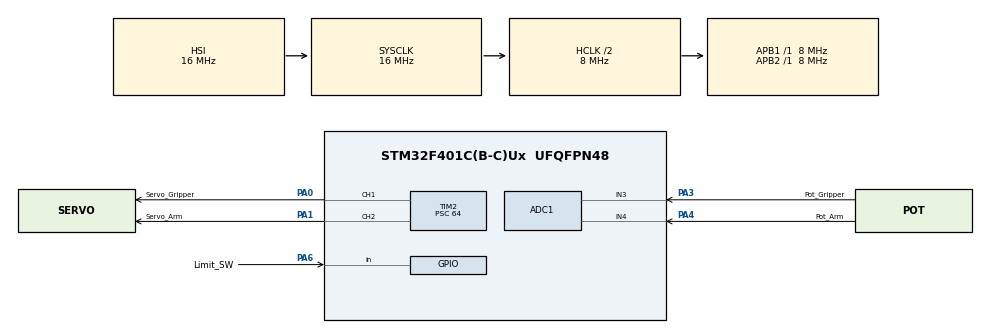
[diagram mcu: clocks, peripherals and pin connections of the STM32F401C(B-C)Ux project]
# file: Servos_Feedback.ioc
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ADC1.Channel-1\#ChannelRegularConversion=ADC_CHANNEL_3
ADC1.Channel-2\#ChannelRegularConversion=ADC_CHANNEL_4
ADC1.ContinuousConvMode=ENABLE
ADC1.DMAContinuousRequests=ENABLE
ADC1.EOCSelection=ADC_EOC_SINGLE_CONV
ADC1.EnableAnalogWatchDog=false
ADC1.NbrOfConversion=2
ADC1.NbrOfConversionFlag=1
ADC1.Rank-1\#ChannelRegularConversion=1
ADC1.Rank-2\#ChannelRegularConversion=2
ADC1.SamplingTime-1\#ChannelRegularConversion=ADC_SAMPLETIME_3CYCLES
ADC1.SamplingTime-2\#ChannelRegularConversion=ADC_SAMPLETIME_3CYCLES
ADC1.master=1
Dma.ADC1.0.Direction=DMA_PERIPH_TO_MEMORY
Dma.ADC1.0.FIFOMode=DMA_FIFOMODE_ENABLE
Dma.ADC1.0.FIFOThreshold=DMA_FIFO_THRESHOLD_FULL
Dma.ADC1.0.Instance=DMA2_Stream0
Dma.ADC1.0.MemBurst=DMA_MBURST_SINGLE
Dma.ADC1.0.MemDataAlignment=DMA_MDATAALIGN_HALFWORD
Dma.ADC1.0.MemInc=DMA_MINC_ENABLE
Dma.ADC1.0.Mode=DMA_NORMAL
Dma.ADC1.0.PeriphBurst=DMA_PBURST_SINGLE
Dma.ADC1.0.PeriphDataAlignment=DMA_PDATAALIGN_HALFWORD
Dma.ADC1.0.PeriphInc=DMA_PINC_DISABLE
Dma.ADC1.0.Priority=DMA_PRIORITY_LOW
Dma.Request0=ADC1
Mcu.Family=STM32F4
Mcu.Name=STM32F401C(B-C)Ux
Mcu.Package=UFQFPN48
NVIC.DMA2_Stream0_IRQn=true\:0\:0\:false\:false\:true\:false\:true\:true
NVIC.PriorityGroup=NVIC_PRIORITYGROUP_4
NVIC.TIM5_IRQn=true\:15\:0\:false\:false\:true\:false\:true\:true
NVIC.TimeBase=TIM5_IRQn
NVIC.TimeBaseIP=TIM5
PA0-WKUP.GPIO_Label=Servo_Gripper
PA0-WKUP.Signal=S_TIM2_CH1_ETR
PA1.GPIO_Label=Servo_Arm
PA1.Signal=S_TIM2_CH2
PA3.GPIO_Label=Pot_Gripper
PA3.Signal=ADCx_IN3
PA4.GPIO_Label=Pot_Arm
PA4.Signal=ADCx_IN4
PA6.GPIO_Label=Limit_SW
PA6.Signal=GPIO_Input
ProjectManager.HeapSize=0x200
ProjectManager.StackSize=0x400
ProjectManager.TargetToolchain=STM32CubeIDE
RCC.AHBCLKDivider=RCC_SYSCLK_DIV2
RCC.AHBFreq_Value=8000000
RCC.APB1Freq_Value=8000000
RCC.APB1TimFreq_Value=8000000
RCC.APB2Freq_Value=8000000
RCC.APB2TimFreq_Value=8000000
RCC.CortexFreq_Value=8000000
RCC.HCLKFreq_Value=8000000
RCC.HSE_VALUE=25000000
RCC.HSI_VALUE=16000000
RCC.LSE_VALUE=32768
RCC.SYSCLKFreq_VALUE=16000000
RCC.VCOOutputFreq_Value=192000000
SH.ADCx_IN3.0=ADC1_IN3,IN3
SH.ADCx_IN4.0=ADC1_IN4,IN4
SH.S_TIM2_CH1_ETR.0=TIM2_CH1,PWM Generation1 CH1
SH.S_TIM2_CH2.0=TIM2_CH2,PWM Generation2 CH2
TIM2.Channel-PWM\ Generation1\ CH1=TIM_CHANNEL_1
TIM2.Channel-PWM\ Generation2\ CH2=TIM_CHANNEL_2
TIM2.Period=2499
TIM2.Prescaler=64
VP_SYS_VS_tim5.Mode=TIM5
VP_TIM2_VS_ClockSourceINT.Mode=Internal
board=custom

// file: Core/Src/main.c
/* USER CODE BEGIN Header */
/**
  ******************************************************************************
  * @file           : main.c
  * @brief          : Main program body
  ******************************************************************************
  * @attention
  *
  * Copyright (c) 2023 STMicroelectronics.
  * All rights reserved.
  *
  * This software is licensed under terms that can be found in the LICENSE file
  * in the root directory of this software component.
  * If no LICENSE file comes with this software, it is provided AS-IS.
  *
  ******************************************************************************
  */
/* USER CODE END Header */
#include "main.h"

ADC_HandleTypeDef hadc1;
DMA_HandleTypeDef hdma_adc1;

TIM_HandleTypeDef htim2;

/* USER CODE BEGIN PV */
int adc1, adc2, button=0;
volatile uint16_t adc_result[2];
const int adc_channel_count = sizeof(adc_result) / sizeof(adc_result[0]);
volatile int adc_conversion_complete = 0, adc_half_conversion_complete = 0;
/* USER CODE END PV */

void SystemClock_Config(void);
static void MX_GPIO_Init(void);
static void MX_DMA_Init(void);
static void MX_ADC1_Init(void);
static void MX_TIM2_Init(void);

int main(void)
{

  /* MCU Configuration--------------------------------------------------------*/

  /* Reset of all peripherals, Initializes the Flash interface and the Systick. */
  HAL_Init();

  /* Configure the system clock */
  SystemClock_Config();

  /* Initialize all configured peripherals */
  MX_GPIO_Init();
  MX_DMA_Init();
  MX_ADC1_Init();
  MX_TIM2_Init();
  /* USER CODE BEGIN 2 */
  HAL_TIM_PWM_Start(&htim2, TIM_CHANNEL_1);
  HAL_TIM_PWM_Start(&htim2, TIM_CHANNEL_2);
  TIM2->CCR1 = 65;
  TIM2->CCR2 = 65;
  HAL_Delay(100);
  int paso = 0;
  /* USER CODE END 2 */

  /* Infinite loop */
  /* USER CODE BEGIN WHILE */
  while (1)
  {

	  HAL_ADC_Start_DMA(&hadc1, (uint32_t*)adc_result, adc_channel_count);
	  button = HAL_GPIO_ReadPin(Limit_SW_GPIO_Port, Limit_SW_Pin);
	  if (paso == 0){
		  if (adc1 < 2125 && button != 1){
			  TIM2->CCR1 += 2;
		  }
		  else{
			  HAL_Delay(500);
			  paso = 1;
		  }
	  }
	  else if (paso == 1){
		  if (adc2 < 2040){
				  TIM2->CCR2 += 2;
			  }
		  else{
			  HAL_Delay(2000);
			  paso = 2;
		  }
	  }
	  else if (paso == 2){
		  if (adc2 > 400){
			  TIM2->CCR2 -= 2;
		  }
		  else{
			  HAL_Delay(500);
			  paso = 3;
		  }
	  }
	  else if (paso == 3){
		  if (adc1 > 510){
			  TIM2->CCR1 -= 2;
		  }
		  else{
			  HAL_Delay(5000);
			  paso = 0;
		  }
	  }
	  HAL_Delay(50);
    /* USER CODE END WHILE */

  }
}

void SystemClock_Config(void)
{
  RCC_OscInitTypeDef RCC_OscInitStruct = {0};
  RCC_ClkInitTypeDef RCC_ClkInitStruct = {0};

  /** Configure the main internal regulator output voltage
  */
  __HAL_RCC_PWR_CLK_ENABLE();
  __HAL_PWR_VOLTAGESCALING_CONFIG(PWR_REGULATOR_VOLTAGE_SCALE2);

  /** Initializes the RCC Oscillators according to the specified parameters
  * in the RCC_OscInitTypeDef structure.
  */
  RCC_OscInitStruct.OscillatorType = RCC_OSCILLATORTYPE_HSI;
  RCC_OscInitStruct.HSIState = RCC_HSI_ON;
  RCC_OscInitStruct.HSICalibrationValue = RCC_HSICALIBRATION_DEFAULT;
  RCC_OscInitStruct.PLL.PLLState = RCC_PLL_NONE;
  if (HAL_RCC_OscConfig(&RCC_OscInitStruct) != HAL_OK)
  {
    Error_Handler();
  }

  /** Initializes the CPU, AHB and APB buses clocks
  */
  RCC_ClkInitStruct.ClockType = RCC_CLOCKTYPE_HCLK|RCC_CLOCKTYPE_SYSCLK
                              |RCC_CLOCKTYPE_PCLK1|RCC_CLOCKTYPE_PCLK2;
  RCC_ClkInitStruct.SYSCLKSource = RCC_SYSCLKSOURCE_HSI;
  RCC_ClkInitStruct.AHBCLKDivider = RCC_SYSCLK_DIV2;
  RCC_ClkInitStruct.APB1CLKDivider = RCC_HCLK_DIV1;
  RCC_ClkInitStruct.APB2CLKDivider = RCC_HCLK_DIV1;

  if (HAL_RCC_ClockConfig(&RCC_ClkInitStruct, FLASH_LATENCY_0) != HAL_OK)
  {
    Error_Handler();
  }
}

static void MX_ADC1_Init(void)
{

  ADC_ChannelConfTypeDef sConfig = {0};

  /** Configure the global features of the ADC (Clock, Resolution, Data Alignment and number of conversion)
  */
  hadc1.Instance = ADC1;
  hadc1.Init.ClockPrescaler = ADC_CLOCK_SYNC_PCLK_DIV2;
  hadc1.Init.Resolution = ADC_RESOLUTION_12B;
  hadc1.Init.ScanConvMode = ENABLE;
  hadc1.Init.ContinuousConvMode = ENABLE;
  hadc1.Init.DiscontinuousConvMode = DISABLE;
  hadc1.Init.ExternalTrigConvEdge = ADC_EXTERNALTRIGCONVEDGE_NONE;
  hadc1.Init.ExternalTrigConv = ADC_SOFTWARE_START;
  hadc1.Init.DataAlign = ADC_DATAALIGN_RIGHT;
  hadc1.Init.NbrOfConversion = 2;
  hadc1.Init.DMAContinuousRequests = ENABLE;
  hadc1.Init.EOCSelection = ADC_EOC_SINGLE_CONV;
  if (HAL_ADC_Init(&hadc1) != HAL_OK)
  {
    Error_Handler();
  }

  /** Configure for the selected ADC regular channel its corresponding rank in the sequencer and its sample time.
  */
  sConfig.Channel = ADC_CHANNEL_3;
  sConfig.Rank = 1;
  sConfig.SamplingTime = ADC_SAMPLETIME_3CYCLES;
  if (HAL_ADC_ConfigChannel(&hadc1, &sConfig) != HAL_OK)
  {
    Error_Handler();
  }

  /** Configure for the selected ADC regular channel its corresponding rank in the sequencer and its sample time.
  */
  sConfig.Channel = ADC_CHANNEL_4;
  sConfig.Rank = 2;
  if (HAL_ADC_ConfigChannel(&hadc1, &sConfig) != HAL_OK)
  {
    Error_Handler();
  }

}

static void MX_TIM2_Init(void)
{

  TIM_ClockConfigTypeDef sClockSourceConfig = {0};
  TIM_MasterConfigTypeDef sMasterConfig = {0};
  TIM_OC_InitTypeDef sConfigOC = {0};

  htim2.Instance = TIM2;
  htim2.Init.Prescaler = 64;
  htim2.Init.CounterMode = TIM_COUNTERMODE_UP;
  htim2.Init.Period = 2499;
  htim2.Init.ClockDivision = TIM_CLOCKDIVISION_DIV1;
  htim2.Init.AutoReloadPreload = TIM_AUTORELOAD_PRELOAD_DISABLE;
  if (HAL_TIM_Base_Init(&htim2) != HAL_OK)
  {
    Error_Handler();
  }
  sClockSourceConfig.ClockSource = TIM_CLOCKSOURCE_INTERNAL;
  if (HAL_TIM_ConfigClockSource(&htim2, &sClockSourceConfig) != HAL_OK)
  {
    Error_Handler();
  }
  if (HAL_TIM_PWM_Init(&htim2) != HAL_OK)
  {
    Error_Handler();
  }
  sMasterConfig.MasterOutputTrigger = TIM_TRGO_RESET;
  sMasterConfig.MasterSlaveMode = TIM_MASTERSLAVEMODE_DISABLE;
  if (HAL_TIMEx_MasterConfigSynchronization(&htim2, &sMasterConfig) != HAL_OK)
  {
    Error_Handler();
  }
  sConfigOC.OCMode = TIM_OCMODE_PWM1;
  sConfigOC.Pulse = 0;
  sConfigOC.OCPolarity = TIM_OCPOLARITY_HIGH;
  sConfigOC.OCFastMode = TIM_OCFAST_DISABLE;
  if (HAL_TIM_PWM_ConfigChannel(&htim2, &sConfigOC, TIM_CHANNEL_1) != HAL_OK)
  {
    Error_Handler();
  }
  if (HAL_TIM_PWM_ConfigChannel(&htim2, &sConfigOC, TIM_CHANNEL_2) != HAL_OK)
  {
    Error_Handler();
  }
  HAL_TIM_MspPostInit(&htim2);

}

static void MX_DMA_Init(void)
{

  /* DMA controller clock enable */
  __HAL_RCC_DMA2_CLK_ENABLE();

  /* DMA interrupt init */
  /* DMA2_Stream0_IRQn interrupt configuration */
  HAL_NVIC_SetPriority(DMA2_Stream0_IRQn, 0, 0);
  HAL_NVIC_EnableIRQ(DMA2_Stream0_IRQn);

}

static void MX_GPIO_Init(void)
{
  GPIO_InitTypeDef GPIO_InitStruct = {0};

  /* GPIO Ports Clock Enable */
  __HAL_RCC_GPIOA_CLK_ENABLE();

  /*Configure GPIO pin : Limit_SW_Pin */
  GPIO_InitStruct.Pin = Limit_SW_Pin;
  GPIO_InitStruct.Mode = GPIO_MODE_INPUT;
  GPIO_InitStruct.Pull = GPIO_NOPULL;
  HAL_GPIO_Init(Limit_SW_GPIO_Port, &GPIO_InitStruct);

}

/* USER CODE BEGIN 4 */
void HAL_ADC_ConvCpltCallback(ADC_HandleTypeDef* hadc){
	  adc1 = adc_result[0];
	  adc2 = adc_result[1];
}
/* USER CODE END 4 */

void HAL_TIM_PeriodElapsedCallback(TIM_HandleTypeDef *htim)
{
  if (htim->Instance == TIM5) {
    HAL_IncTick();
  }
}

void Error_Handler(void)
{
  __disable_irq();
  while (1)
  {
  }
}
